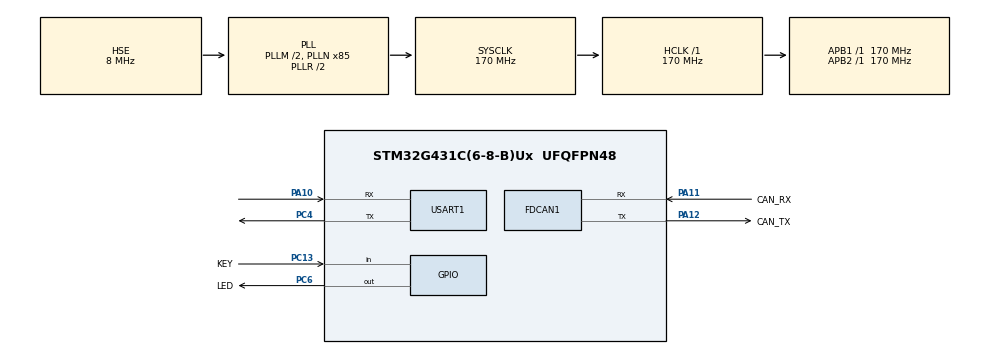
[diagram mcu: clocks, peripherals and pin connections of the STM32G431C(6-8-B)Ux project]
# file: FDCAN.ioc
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FDCAN1.CalculateBaudRateNominal=500000
FDCAN1.CalculateTimeBitNominal=2000
FDCAN1.CalculateTimeQuantumNominal=125.0
FDCAN1.DataTimeSeg1=13
FDCAN1.DataTimeSeg2=2
FDCAN1.NominalPrescaler=1
FDCAN1.NominalTimeSeg1=13
FDCAN1.NominalTimeSeg2=2
FDCAN1.StdFiltersNbr=1
Mcu.Family=STM32G4
Mcu.Name=STM32G431C(6-8-B)Ux
Mcu.Package=UFQFPN48
NVIC.FDCAN1_IT0_IRQn=true\:0\:0\:false\:false\:true\:true\:true\:true
NVIC.PriorityGroup=NVIC_PRIORITYGROUP_4
PA10.Mode=Asynchronous
PA10.Signal=USART1_RX
PA11.GPIO_Label=CAN_RX
PA11.Mode=FDCAN_Activate
PA11.Signal=FDCAN1_RX
PA12.GPIO_Label=CAN_TX
PA12.Mode=FDCAN_Activate
PA12.Signal=FDCAN1_TX
PA13.Mode=Trace_Asynchronous_SW
PA13.Signal=SYS_JTMS-SWDIO
PA14.Mode=Trace_Asynchronous_SW
PA14.Signal=SYS_JTCK-SWCLK
PB3.Mode=Trace_Asynchronous_SW
PB3.Signal=SYS_JTDO-SWO
PC13.GPIO_Label=KEY
PC13.GPIO_PuPd=GPIO_PULLDOWN
PC13.Signal=GPIO_Input
PC4.Mode=Asynchronous
PC4.Signal=USART1_TX
PC6.GPIO_Label=LED
PC6.GPIO_ModeDefaultOutputPP=GPIO_MODE_OUTPUT_PP
PC6.GPIO_Speed=GPIO_SPEED_FREQ_LOW
PC6.PinState=GPIO_PIN_RESET
PC6.Signal=GPIO_Output
PF0-OSC_IN.Mode=HSE-External-Oscillator
PF0-OSC_IN.Signal=RCC_OSC_IN
PF1-OSC_OUT.Mode=HSE-External-Oscillator
PF1-OSC_OUT.Signal=RCC_OSC_OUT
ProjectManager.HeapSize=0x200
ProjectManager.StackSize=0x400
ProjectManager.TargetToolchain=STM32CubeIDE
RCC.ADC12Freq_Value=170000000
RCC.AHBFreq_Value=170000000
RCC.APB1Freq_Value=170000000
RCC.APB1TimFreq_Value=170000000
RCC.APB2Freq_Value=170000000
RCC.APB2TimFreq_Value=170000000
RCC.CortexFreq_Value=170000000
RCC.EXTERNAL_CLOCK_VALUE=12288000
RCC.FDCANCLockSelection=RCC_FDCANCLKSOURCE_HSE
RCC.HCLKFreq_Value=170000000
RCC.HSE_VALUE=8000000
RCC.HSI48_VALUE=48000000
RCC.HSI_VALUE=16000000
RCC.LSE_VALUE=32768
RCC.PLLM=RCC_PLLM_DIV2
RCC.PLLN=85
RCC.PLLSourceVirtual=RCC_PLLSOURCE_HSE
RCC.SYSCLKFreq_VALUE=170000000
RCC.SYSCLKSource=RCC_SYSCLKSOURCE_PLLCLK
RCC.USBFreq_Value=170000000
RCC.VCOOutputFreq_Value=340000000
USART1.VirtualMode-Asynchronous=VM_ASYNC
VP_SYS_VS_DBSignals.Mode=DisableDeadBatterySignals
board=custom

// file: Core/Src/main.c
/* USER CODE BEGIN Header */
/**
  ******************************************************************************
  * @file           : main.c
  * @brief          : Main program body
  ******************************************************************************
  * @attention
  *
  * Copyright (c) 2025 STMicroelectronics.
  * All rights reserved.
  *
  * This software is licensed under terms that can be found in the LICENSE file
  * in the root directory of this software component.
  * If no LICENSE file comes with this software, it is provided AS-IS.
  *
  ******************************************************************************
  */
/* USER CODE END Header */
#include "main.h"

/* USER CODE BEGIN Includes */
#include "console.h"
/* USER CODE END Includes */

/* USER CODE BEGIN PD */
#define PACKET_LENGTH	8
/* USER CODE END PD */

FDCAN_HandleTypeDef hfdcan1;

UART_HandleTypeDef huart1;

/* USER CODE BEGIN PV */
FDCAN_RxHeaderTypeDef rxHeader; //CAN Bus Transmit Header
FDCAN_TxHeaderTypeDef txHeader; //CAN Bus Receive Header
FDCAN_FilterTypeDef canFilter; //CAN Bus Filter

uint8_t canRX[PACKET_LENGTH] = {0,0,0,0,0,0,0,0};  //CAN Bus Receive Buffer
uint8_t canTX[PACKET_LENGTH] = {0,0,0,0,0,0,0,0};  //CAN Bus Transmit Buffer

/* USER CODE END PV */

void SystemClock_Config(void);
static void MX_GPIO_Init(void);
static void MX_FDCAN1_Init(void);
static void MX_USART1_UART_Init(void);
/* USER CODE BEGIN PFP */
static void FDCAN_Config(void);
/* USER CODE END PFP */

int main(void)
{

  /* MCU Configuration--------------------------------------------------------*/

  /* Reset of all peripherals, Initializes the Flash interface and the Systick. */
  HAL_Init();

  /* Configure the system clock */
  SystemClock_Config();

  /* Initialize all configured peripherals */
  MX_GPIO_Init();
  MX_FDCAN1_Init();
  MX_USART1_UART_Init();
  /* USER CODE BEGIN 2 */

  FDCAN_Config();

  /* USER CODE END 2 */

  /* Infinite loop */
  /* USER CODE BEGIN WHILE */
  while (1)
  {

	  // Fill CAN Packet
	  canTX[0] = 1;
	  canTX[1] = 2;
	  canTX[2] = 3;
	  canTX[3] = 4;
	  canTX[4] = 5;
	  canTX[5] = 6;
	  canTX[6] = 7;
	  canTX[7] = 8;

	  // Send CAN Packet
	  if (HAL_FDCAN_AddMessageToTxFifoQ(&hfdcan1, &txHeader, canTX) != HAL_OK) {
		  printf("CAN Sending error\r\n");
	  } else {
		  printf("CAN packet sent\r\n");
	  }
	  HAL_Delay(1000);

    /* USER CODE END WHILE */

  }
}

void SystemClock_Config(void)
{
  RCC_OscInitTypeDef RCC_OscInitStruct = {0};
  RCC_ClkInitTypeDef RCC_ClkInitStruct = {0};

  /** Configure the main internal regulator output voltage
  */
  HAL_PWREx_ControlVoltageScaling(PWR_REGULATOR_VOLTAGE_SCALE1_BOOST);

  /** Initializes the RCC Oscillators according to the specified parameters
  * in the RCC_OscInitTypeDef structure.
  */
  RCC_OscInitStruct.OscillatorType = RCC_OSCILLATORTYPE_HSE;
  RCC_OscInitStruct.HSEState = RCC_HSE_ON;
  RCC_OscInitStruct.PLL.PLLState = RCC_PLL_ON;
  RCC_OscInitStruct.PLL.PLLSource = RCC_PLLSOURCE_HSE;
  RCC_OscInitStruct.PLL.PLLM = RCC_PLLM_DIV2;
  RCC_OscInitStruct.PLL.PLLN = 85;
  RCC_OscInitStruct.PLL.PLLP = RCC_PLLP_DIV2;
  RCC_OscInitStruct.PLL.PLLQ = RCC_PLLQ_DIV2;
  RCC_OscInitStruct.PLL.PLLR = RCC_PLLR_DIV2;
  if (HAL_RCC_OscConfig(&RCC_OscInitStruct) != HAL_OK)
  {
    Error_Handler();
  }

  /** Initializes the CPU, AHB and APB buses clocks
  */
  RCC_ClkInitStruct.ClockType = RCC_CLOCKTYPE_HCLK|RCC_CLOCKTYPE_SYSCLK
                              |RCC_CLOCKTYPE_PCLK1|RCC_CLOCKTYPE_PCLK2;
  RCC_ClkInitStruct.SYSCLKSource = RCC_SYSCLKSOURCE_PLLCLK;
  RCC_ClkInitStruct.AHBCLKDivider = RCC_SYSCLK_DIV1;
  RCC_ClkInitStruct.APB1CLKDivider = RCC_HCLK_DIV1;
  RCC_ClkInitStruct.APB2CLKDivider = RCC_HCLK_DIV1;

  if (HAL_RCC_ClockConfig(&RCC_ClkInitStruct, FLASH_LATENCY_4) != HAL_OK)
  {
    Error_Handler();
  }
}

static void MX_FDCAN1_Init(void)
{

  hfdcan1.Instance = FDCAN1;
  hfdcan1.Init.ClockDivider = FDCAN_CLOCK_DIV1;
  hfdcan1.Init.FrameFormat = FDCAN_FRAME_CLASSIC;
  hfdcan1.Init.Mode = FDCAN_MODE_NORMAL;
  hfdcan1.Init.AutoRetransmission = DISABLE;
  hfdcan1.Init.TransmitPause = DISABLE;
  hfdcan1.Init.ProtocolException = DISABLE;
  hfdcan1.Init.NominalPrescaler = 1;
  hfdcan1.Init.NominalSyncJumpWidth = 1;
  hfdcan1.Init.NominalTimeSeg1 = 13;
  hfdcan1.Init.NominalTimeSeg2 = 2;
  hfdcan1.Init.DataPrescaler = 1;
  hfdcan1.Init.DataSyncJumpWidth = 1;
  hfdcan1.Init.DataTimeSeg1 = 13;
  hfdcan1.Init.DataTimeSeg2 = 2;
  hfdcan1.Init.StdFiltersNbr = 1;
  hfdcan1.Init.ExtFiltersNbr = 0;
  hfdcan1.Init.TxFifoQueueMode = FDCAN_TX_FIFO_OPERATION;
  if (HAL_FDCAN_Init(&hfdcan1) != HAL_OK)
  {
    Error_Handler();
  }

}

static void MX_USART1_UART_Init(void)
{

  huart1.Instance = USART1;
  huart1.Init.BaudRate = 115200;
  huart1.Init.WordLength = UART_WORDLENGTH_8B;
  huart1.Init.StopBits = UART_STOPBITS_1;
  huart1.Init.Parity = UART_PARITY_NONE;
  huart1.Init.Mode = UART_MODE_TX_RX;
  huart1.Init.HwFlowCtl = UART_HWCONTROL_NONE;
  huart1.Init.OverSampling = UART_OVERSAMPLING_16;
  huart1.Init.OneBitSampling = UART_ONE_BIT_SAMPLE_DISABLE;
  huart1.Init.ClockPrescaler = UART_PRESCALER_DIV1;
  huart1.AdvancedInit.AdvFeatureInit = UART_ADVFEATURE_NO_INIT;
  if (HAL_UART_Init(&huart1) != HAL_OK)
  {
    Error_Handler();
  }
  if (HAL_UARTEx_SetTxFifoThreshold(&huart1, UART_TXFIFO_THRESHOLD_1_8) != HAL_OK)
  {
    Error_Handler();
  }
  if (HAL_UARTEx_SetRxFifoThreshold(&huart1, UART_RXFIFO_THRESHOLD_1_8) != HAL_OK)
  {
    Error_Handler();
  }
  if (HAL_UARTEx_DisableFifoMode(&huart1) != HAL_OK)
  {
    Error_Handler();
  }

}

static void MX_GPIO_Init(void)
{
  GPIO_InitTypeDef GPIO_InitStruct = {0};

  /* GPIO Ports Clock Enable */
  __HAL_RCC_GPIOC_CLK_ENABLE();
  __HAL_RCC_GPIOF_CLK_ENABLE();
  __HAL_RCC_GPIOA_CLK_ENABLE();
  __HAL_RCC_GPIOB_CLK_ENABLE();

  /*Configure GPIO pin Output Level */
  HAL_GPIO_WritePin(LED_GPIO_Port, LED_Pin, GPIO_PIN_RESET);

  /*Configure GPIO pin : KEY_Pin */
  GPIO_InitStruct.Pin = KEY_Pin;
  GPIO_InitStruct.Mode = GPIO_MODE_INPUT;
  GPIO_InitStruct.Pull = GPIO_PULLDOWN;
  HAL_GPIO_Init(KEY_GPIO_Port, &GPIO_InitStruct);

  /*Configure GPIO pin : LED_Pin */
  GPIO_InitStruct.Pin = LED_Pin;
  GPIO_InitStruct.Mode = GPIO_MODE_OUTPUT_PP;
  GPIO_InitStruct.Pull = GPIO_NOPULL;
  GPIO_InitStruct.Speed = GPIO_SPEED_FREQ_LOW;
  HAL_GPIO_Init(LED_GPIO_Port, &GPIO_InitStruct);

}

/* USER CODE BEGIN 4 */

static void FDCAN_Config(void) {

  // Enable CLK for FDCAN
  RCC_PeriphCLKInitTypeDef PeriphClkInit = {0};
  PeriphClkInit.PeriphClockSelection = RCC_PERIPHCLK_FDCAN;
  PeriphClkInit.FdcanClockSelection = RCC_FDCANCLKSOURCE_HSE; // HSE  8MHz
  if (HAL_RCCEx_PeriphCLKConfig(&PeriphClkInit) != HAL_OK)
  {
	  Error_Handler();
  }

  //FDCAN_FilterTypeDef sFilterConfig;

  // See example
  // https://github.com/STMicroelectronics/STM32CubeG4/blob/master/Projects/STM32G474E-EVAL/Examples/FDCAN/FDCAN_Classic_Frame_Networking/Src/main.c
  //

  /* Configure Rx filter */
  canFilter.IdType = FDCAN_STANDARD_ID;
  canFilter.FilterIndex = 0;
  canFilter.FilterType = FDCAN_FILTER_MASK;
  canFilter.FilterConfig = FDCAN_FILTER_TO_RXFIFO0;
  canFilter.FilterID1 = 0x030;
  canFilter.FilterID2 = 0x000;
  if (HAL_FDCAN_ConfigFilter(&hfdcan1, &canFilter) != HAL_OK)
  {
    Error_Handler();
  }

  /* Configure global filter:
     Filter all remote frames with STD and EXT ID
     Reject non matching frames with STD ID and EXT ID */
  //if (HAL_FDCAN_ConfigGlobalFilter(&hfdcan1, FDCAN_REJECT, FDCAN_REJECT, FDCAN_FILTER_REMOTE, FDCAN_FILTER_REMOTE) != HAL_OK)
  //if (HAL_FDCAN_ConfigFilter(&hfdcan1, &canFilter) != HAL_OK)
  //{
  //  Error_Handler();
  //}

  /* Start the FDCAN module */
  if (HAL_FDCAN_Start(&hfdcan1) != HAL_OK)
  {
    Error_Handler();
  }

  if (HAL_FDCAN_ActivateNotification(&hfdcan1, FDCAN_IT_RX_FIFO0_NEW_MESSAGE, 0) != HAL_OK)
  {
    Error_Handler();
  }

  /* Prepare Tx Header */
  txHeader.Identifier = 0x030;
  txHeader.IdType = FDCAN_STANDARD_ID;
  txHeader.TxFrameType = FDCAN_DATA_FRAME;
  txHeader.DataLength = FDCAN_DLC_BYTES_8;
  txHeader.ErrorStateIndicator = FDCAN_ESI_ACTIVE;
  txHeader.BitRateSwitch = FDCAN_BRS_OFF;
  txHeader.FDFormat = FDCAN_CLASSIC_CAN;
  txHeader.TxEventFifoControl = FDCAN_NO_TX_EVENTS;
  txHeader.MessageMarker = 0;
}

// FDCAN1 Callback
void HAL_FDCAN_RxFifo0Callback(FDCAN_HandleTypeDef *hfdcan, uint32_t RxFifo0ITs)
{
	if((RxFifo0ITs & FDCAN_IT_RX_FIFO0_NEW_MESSAGE) != RESET)
	{
		HAL_FDCAN_GetRxMessage(hfdcan, FDCAN_RX_FIFO0, &rxHeader, canRX);
		printf("CAN Message received: %d %d %d %d %d %d %d %d \r\n", canRX[0], canRX[1], canRX[2], canRX[3], canRX[4], canRX[5], canRX[6], canRX[7]);

		if (HAL_FDCAN_ActivateNotification(hfdcan, FDCAN_IT_RX_FIFO0_NEW_MESSAGE, 0) != HAL_OK)
		{
			/* Notification Error */
			Error_Handler();
		}

	}
}

/* USER CODE END 4 */

void Error_Handler(void)
{
  __disable_irq();
  while (1)
  {
  }
}
